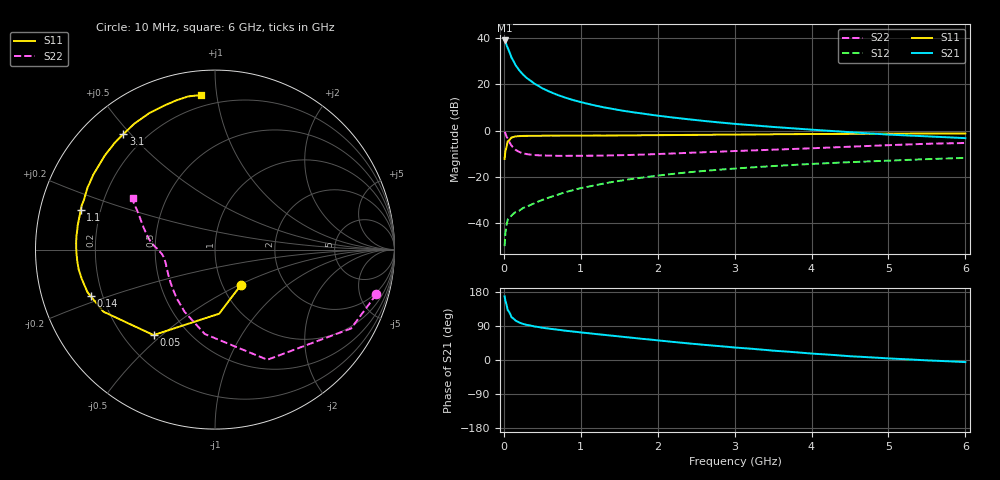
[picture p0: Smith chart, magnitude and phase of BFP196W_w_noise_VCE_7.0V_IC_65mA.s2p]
! Infineon Technologies  Discrete & RF Semiconductors
! BFP196W
! VCE =  7.0 V,  IC =  65 mA
! Common Emitter S-Parameters:  Jan 2017
# GHz  S  MA  R  50
!  f  S11  S21  S12  S22
! GHz  MAG  ANG  MAG  ANG  MAG  ANG  MAG  ANG
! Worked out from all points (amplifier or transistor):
!   77 points, 10 MHz to 6 GHz, reference 50 ohm
!   highest |S21| = 38.9 dB at 10 MHz (marker M1)
!   |S21| within 3 dB of that: start of sweep to 47.14 MHz
!   unconditionally stable (mu >= 1): 619.8 MHz to 3.277 GHz
!   at 130 MHz: K = 0.47, MSG = 32.7 dB, |S12| = -35.8 dB
!   at 2.2 GHz: K = 1.04, MAG = 10.9 dB, |S12| = -18.7 dB
!   at 6 GHz: K = 0.94, MSG = 4.3 dB, |S12| = -11.8 dB
!   lowest NFmin = 1.51 dB at 450 MHz
!   S11 on the Smith chart (normalised r, x): 10 MHz: 1.22, -0.51; 50 MHz: 0.32, -0.47; 140 MHz: 0.15, -0.18; 1.1 GHz: 0.13, +0.14; 3.1 GHz: 0.12, +0.48; 6 GHz: 0.13, +0.91
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0.01  0.2449 -54.0  88.25 168.0  0.0032 82.1  0.9328 -15.5
0.02  0.3579 -86.3  83.01 156.2  0.0061 77.2  0.8764 -30.1
0.05  0.5865 -125.7  60.84 131.8  0.012 50.6  0.6795 -64.6
0.1  0.7115 -150.9  37.5 112.8  0.0146 43.7  0.4738 -96.9
0.14  0.7396 -159.5  28.48 106.5  0.0168 42.9  0.3994 -111.5
0.15  0.7491 -161.5  26.31 104.3  0.0174 42.7  0.3858 -116.0
0.2  0.76 -167.5  20.06 99.0  0.0187 45.1  0.3458 -127.9
0.25  0.7673 -171.6  16.18 95.2  0.0214 48.4  0.3224 -136.5
0.3  0.7698 -174.7  13.53 92.6  0.0228 50.8  0.3099 -142.6
0.4  0.7728 -179.0  10.24 88.4  0.0272 55.2  0.2965 -151.0
0.5  0.7744 177.5  8.193 85.2  0.0319 58.6  0.2902 -156.3
0.6  0.7758 174.7  6.853 82.4  0.0365 60.2  0.2882 -160.1
0.7  0.7752 172.3  5.869 80.0  0.0412 62.1  0.285 -163.0
0.9  0.7769 167.6  4.561 75.1  0.0519 63.5  0.2856 -166.8
1.1  0.7803 163.5  3.755 70.7  0.0617 63.7  0.2868 -169.5
1.3  0.7807 159.5  3.179 66.4  0.072 63.5  0.2891 -171.9
1.5  0.7862 155.8  2.769 62.2  0.082 62.8  0.2944 -174.1
2.1  0.7986 144.6  2.006 49.8  0.1116 58.4  0.3163 -179.7
3.1  0.8213 128.4  1.356 31.5  0.1555 49.7  0.3668 171.9
4.1  0.8446 114.3  1.022 15.7  0.1941 41.1  0.4218 161.9
5.1  0.8602 103.5  0.806 3.2  0.228 33.0  0.4913 152.8
6  0.8645 95.1  0.688 -5.5  0.2576 26.0  0.5403 148.1
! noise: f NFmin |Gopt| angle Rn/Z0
0.45  1.51  0.53  -175  0.06
0.9  1.64  0.57  -170  0.07
1.9  2.49  0.7  -148  0.18
2.4  2.88  0.74  -144  0.28
